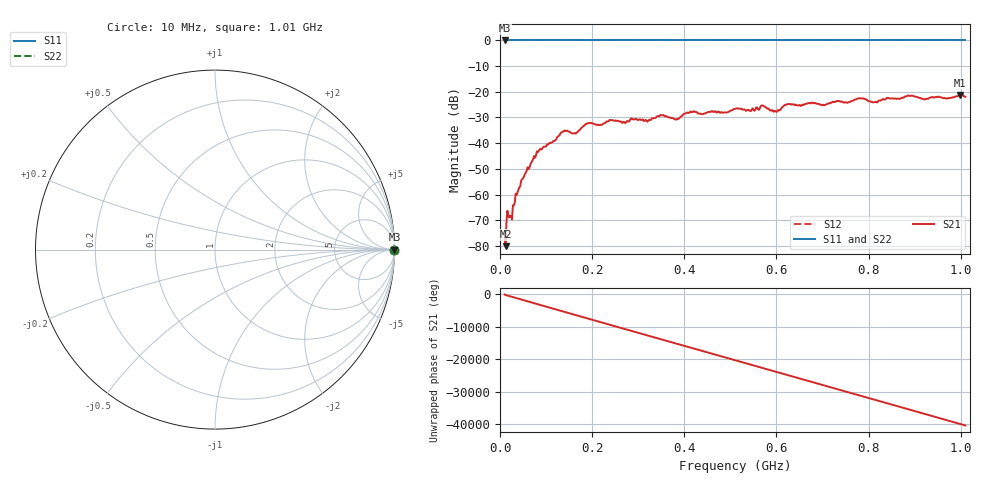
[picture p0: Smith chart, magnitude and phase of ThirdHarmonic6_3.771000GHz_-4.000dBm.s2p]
! 8/17/2025 12:58:41 PM
! C:\ANRITSUVNA\TEMP\TEMP.S2P
! CHANNEL.1
! TR.MEASUREMENT
! RAW.DATA
! RF.CORRECTION.OFF
! AVERAGING.OFF
! IF.BANDWIDTH: 5KHZ
! SWEEPTYPE:  FREQ.SWEEP(Linear)
! Reference Plane Port Info
! PORT:  PORT1  PORT2
! DISTANCE:  0  m  0  m
! TIME:  0  s  0  s
! PHASE.OFFSET:  0  deg.  0  deg.
! LOSS:  0  dB  0  dB
! REF.LOSS:  0  dB  0  dB
! REF.FREQ:  0  Hz  0  Hz
! Power Info
! POWER:  -20  dBm  -20  dBm
! EFF.POWER:  -20  dBm  -20  dBm
! SOURCE.ATTEN:  0  dB  0  dB
! TEST.ATTEN:  0  dB  0  dB
# GHZ S RI R 50.0
! FREQ.GHZ  S11RE  S11IM  S21RE  S21IM  S12RE  S12IM  S22RE  S22IM
!; PortSelection: Port_12
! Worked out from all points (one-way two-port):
!   501 points, 10 MHz to 1.01 GHz, reference 50 ohm
!   highest |S21| = -21.23 dB at 998 MHz (marker M1); lowest = -80.1 dB at 12 MHz (marker M2)
!   lowest |S11| = 0.0 dB at 10 MHz (marker M3)
!   |S11| at or under -10 dB: nowhere
!   |S22| runs from 0.0 to 0.0 dB; largest |S21 - S12| = 1.1
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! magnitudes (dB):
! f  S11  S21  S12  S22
! 10 MHz  0.0  -74.7  0.0  0.0
! 12 MHz  0.0  -80.1  0.0  0.0
! 18 MHz  0.0  -67.9  0.0  0.0
! 26 MHz  0.0  -69.7  0.0  0.0
! 38 MHz  0.0  -59.1  0.0  0.0
! 50 MHz  0.0  -53.7  0.0  0.0
! 84 MHz  0.0  -43.2  0.0  0.0
! 136 MHz  0.0  -35.6  0.0  0.0
! 162 MHz  0.0  -36.1  0.0  0.0
! 178 MHz  0.0  -33.9  0.0  0.0
! 194 MHz  0.0  -32.1  0.0  0.0
! 344 MHz  0.0  -29.6  0.0  0.0
! 382 MHz  0.0  -30.8  0.0  0.0
! 416 MHz  0.0  -27.9  0.0  0.0
! 510 MHz  0.0  -26.6  0.0  0.0
! 570 MHz  0.0  -25.3  0.0  0.0
! 598 MHz  0.0  -27.5  0.0  0.0
! 622 MHz  0.0  -24.8  0.0  0.0
! 678 MHz  0.0  -24.2  0.0  0.0
! 844 MHz  0.0  -22.5  0.0  0.0
! 998 MHz  0.0  -21.2  0.0  0.0
! 1.01 GHz  0.0  -21.9  0.0  0.0
